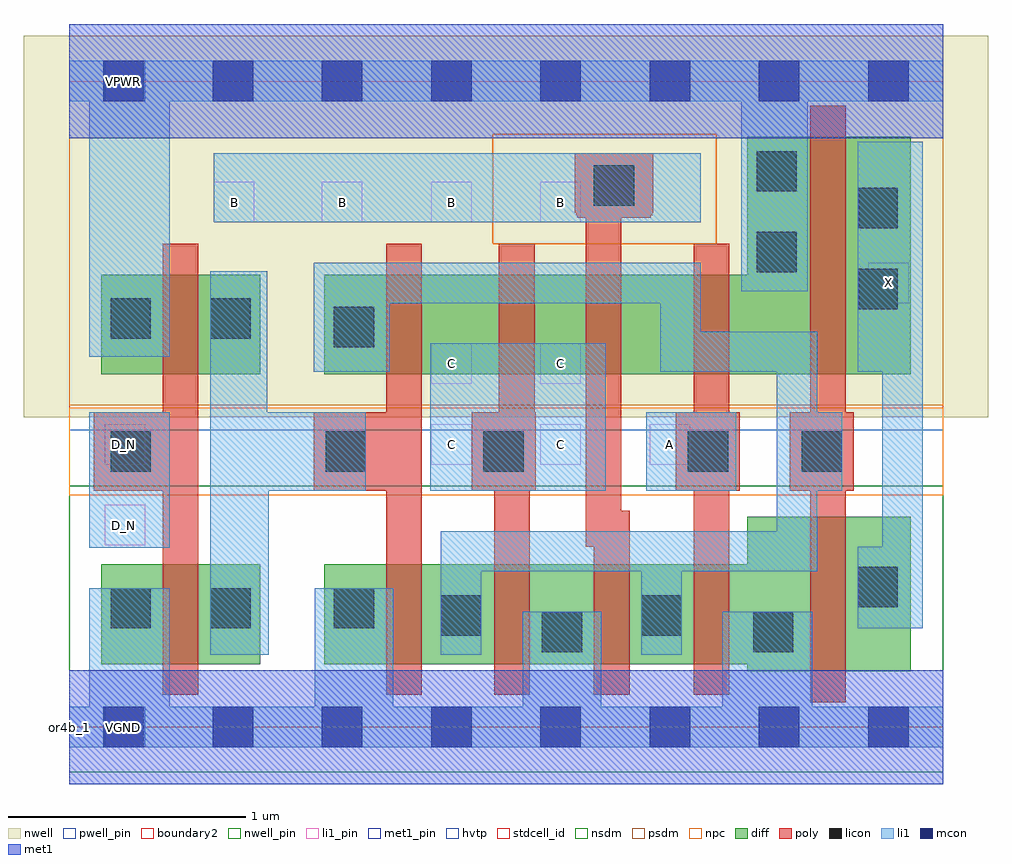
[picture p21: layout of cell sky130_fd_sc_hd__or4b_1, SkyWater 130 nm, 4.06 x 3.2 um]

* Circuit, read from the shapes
.subckt sky130_fd_sc_hd__or4b_1 A B C D_N VGND VNB VPB VPWR X
XM1 n1 D_N VGND VNB sky130_fd_pr__nfet_01v8 w=0.42 l=0.15
XM2 n2 n1 VGND VNB sky130_fd_pr__nfet_01v8 w=0.42 l=0.15
XM3 VGND C n2 VNB sky130_fd_pr__nfet_01v8 w=0.42 l=0.15
XM4 n2 B VGND VNB sky130_fd_pr__nfet_01v8 w=0.42 l=0.15
XM5 VGND A n2 VNB sky130_fd_pr__nfet_01v8 w=0.42 l=0.15
XM6 X n2 VGND VNB sky130_fd_pr__nfet_01v8 w=0.65 l=0.15
XM7 n1 D_N VPWR VPB sky130_fd_pr__pfet_01v8_hvt w=0.42 l=0.15
XM8 n3 n1 n2 VPB sky130_fd_pr__pfet_01v8_hvt w=0.42 l=0.15
XM9 n4 C n3 VPB sky130_fd_pr__pfet_01v8_hvt w=0.42 l=0.15
XM10 n5 B n4 VPB sky130_fd_pr__pfet_01v8_hvt w=0.42 l=0.15
XM11 VPWR A n5 VPB sky130_fd_pr__pfet_01v8_hvt w=0.42 l=0.15
XM12 X n2 VPWR VPB sky130_fd_pr__pfet_01v8_hvt w=1 l=0.15
.ends

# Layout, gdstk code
import gdstk
lib = gdstk.Library(unit=1e-6, precision=1e-09)
def R(c, l, rs):  # rectangles x0, y0, x1, y1
    for r in rs: c.add(gdstk.rectangle(r[:2], r[2:], *l))
def A(c, l, x, y, w, h, nx, ny, dx, dy):  # array of equal rectangles
    R(c, l, [(x+i*dx, y+j*dy, x+i*dx+w, y+j*dy+h) for i in range(nx) for j in range(ny)])
def P(c, l, *ps):  # polygons
    for p in ps: c.add(gdstk.Polygon(p, *l))
nwell_pin = (64, 16)
nwell = (64, 20)
diff = (65, 20)
poly = (66, 20)
licon = (66, 44)
li1_pin = (67, 16)
li1 = (67, 20)
mcon = (67, 44)
met1_pin = (68, 16)
met1 = (68, 20)
hvtp = (78, 44)
stdcell_id = (81, 4)
nsdm = (93, 44)
psdm = (94, 20)
npc = (95, 20)
pwell_pin = (122, 16)
boundary2 = (236, 0)

sky130_fd_sc_hd__or4b_1 = lib.new_cell('sky130_fd_sc_hd__or4b_1')
R(sky130_fd_sc_hd__or4b_1, nwell_pin, [(0.15,2.635,0.32,2.805)])
R(sky130_fd_sc_hd__or4b_1, nwell, [(-0.19,1.305,3.87,2.91)])
R(sky130_fd_sc_hd__or4b_1, diff, [(0.135,0.265,0.805,0.685), (0.135,1.485,0.805,1.905)])
P(sky130_fd_sc_hd__or4b_1, diff, [(3.545,2.485),(2.855,2.485),(2.855,1.905),(1.075,1.905),(1.075,1.485),(3.545,1.485)],
  [(3.545,0.885),(2.855,0.885),(2.855,0.685),(1.075,0.685),(1.075,0.265),(2.855,0.265),(2.855,0.235),(3.545,0.235)])
R(sky130_fd_sc_hd__or4b_1, poly, [(1.81,1.325,1.96,2.035)])
P(sky130_fd_sc_hd__or4b_1, poly, [(0.545,2.035),(0.395,2.035),(0.395,1.325),(0.105,1.325),(0.105,0.995),(0.395,0.995),(0.395,0.135),(0.545,0.135)],
  [(2.825,1.325),(2.78,1.325),(2.78,2.035),(2.63,2.035),(2.63,1.325),(2.555,1.325),(2.555,0.995),(2.63,0.995),(2.63,0.135),(2.78,0.135),(2.78,0.995),(2.825,0.995)],
  [(2.46,2.415),(2.13,2.415),(2.13,2.165),(2.135,2.165),(2.135,2.155),(2.14,2.155),(2.14,2.145),(2.175,2.145),(2.175,0.76),(2.21,0.76),(2.21,0.135),(2.36,0.135),(2.36,0.91),(2.325,0.91),(2.325,2.145),(2.45,2.145),(2.45,2.155),(2.455,2.155),(2.455,2.165),(2.46,2.165)],
  [(1.965,1.325),(1.695,1.325),(1.695,0.995),(1.79,0.995),(1.79,0.135),(1.94,0.135),(1.94,0.995),(1.965,0.995)],
  [(1.485,2.035),(1.335,2.035),(1.335,1.325),(1.03,1.325),(1.03,0.995),(1.335,0.995),(1.335,0.135),(1.485,0.135)],
  [(3.305,1.325),(3.27,1.325),(3.27,2.615),(3.12,2.615),(3.12,1.325),(3.035,1.325),(3.035,0.995),(3.12,0.995),(3.12,0.105),(3.27,0.105),(3.27,0.995),(3.305,0.995)])
R(sky130_fd_sc_hd__or4b_1, licon, [(1.99,0.315,2.16,0.485), (2.88,0.315,3.05,0.485), (1.565,0.385,1.735,0.555), (2.41,0.385,2.58,0.555), (0.175,0.415,0.345,0.585), (0.595,0.415,0.765,0.585), (1.115,0.415,1.285,0.585), (3.32,0.505,3.49,0.675), (0.175,1.075,0.345,1.245), (1.08,1.075,1.25,1.245), (1.745,1.075,1.915,1.245), (2.605,1.075,2.775,1.245), (3.085,1.075,3.255,1.245), (1.115,1.6,1.285,1.77), (0.175,1.635,0.345,1.805), (0.595,1.635,0.765,1.805), (3.32,1.76,3.49,1.93), (2.895,1.915,3.065,2.085), (3.32,2.1,3.49,2.27), (2.21,2.195,2.38,2.365), (2.895,2.255,3.065,2.425)])
A(sky130_fd_sc_hd__or4b_1, li1_pin, 1.525, 1.105, 0.17, 0.17, 3, 1, 0.46, 0)
A(sky130_fd_sc_hd__or4b_1, li1_pin, 1.065, 2.125, 0.17, 0.17, 3, 1, 0.46, 0)
R(sky130_fd_sc_hd__or4b_1, li1_pin, [(0.15,0.765,0.32,0.935), (0.15,1.105,0.32,1.275), (1.525,1.445,1.695,1.615), (1.985,1.445,2.155,1.615), (3.365,1.785,3.535,1.955), (0.61,2.125,0.78,2.295)])
R(sky130_fd_sc_hd__or4b_1, li1, [(0.085,0.755,0.425,1.325), (1.52,0.995,2.26,1.615), (2.43,0.995,2.81,1.325), (0.61,2.125,2.66,2.415)])
P(sky130_fd_sc_hd__or4b_1, li1, [(3.595,2.465),(3.32,2.465),(3.32,1.495),(3.425,1.495),(3.425,0.76),(3.32,0.76),(3.32,0.415),(3.595,0.415)],
  [(3.255,1.325),(3.15,1.325),(3.15,1.665),(2.66,1.665),(2.66,1.955),(1.03,1.955),(1.03,1.495),(1.35,1.495),(1.35,1.785),(2.49,1.785),(2.49,1.495),(2.98,1.495),(2.98,0.825),(1.565,0.825),(1.565,0.305),(1.735,0.305),(1.735,0.655),(2.41,0.655),(2.41,0.305),(2.58,0.305),(2.58,0.655),(3.15,0.655),(3.15,0.995),(3.255,0.995)],
  [(1.25,1.325),(0.835,1.325),(0.835,1.92),(0.595,1.92),(0.595,0.305),(0.84,0.305),(0.84,0.995),(1.25,0.995)],
  [(3.68,2.805),(0,2.805),(0,2.635),(0.085,2.635),(0.085,1.56),(0.425,1.56),(0.425,2.635),(2.83,2.635),(2.83,1.835),(3.11,1.835),(3.11,2.635),(3.68,2.635)],
  [(3.68,0.085),(3.13,0.085),(3.13,0.485),(2.75,0.485),(2.75,0.085),(2.24,0.085),(2.24,0.485),(1.91,0.485),(1.91,0.085),(1.365,0.085),(1.365,0.585),(1.035,0.585),(1.035,0.085),(0.425,0.085),(0.425,0.585),(0.085,0.585),(0.085,0.085),(0,0.085),(0,-0.085),(3.68,-0.085)])
A(sky130_fd_sc_hd__or4b_1, mcon, 0.145, -0.085, 0.17, 0.17, 8, 2, 0.46, 2.72)
R(sky130_fd_sc_hd__or4b_1, met1_pin, [(0.15,-0.085,0.32,0.085), (0.15,2.635,0.32,2.805)])
R(sky130_fd_sc_hd__or4b_1, hvtp, [(0,1.25,3.68,2.72)])
R(sky130_fd_sc_hd__or4b_1, stdcell_id, [(0,0,3.68,2.72)])
R(sky130_fd_sc_hd__or4b_1, nsdm, [(0,-0.19,3.68,1.015)])
P(sky130_fd_sc_hd__or4b_1, psdm, [(3.68,2.91),(2.725,2.91),(2.725,2.035),(1.785,2.035),(1.785,2.495),(2.725,2.495),(2.725,2.91),(0,2.91),(0,1.355),(3.68,1.355)])
R(sky130_fd_sc_hd__or4b_1, npc, [(0,0.975,3.68,1.345), (1.785,2.035,2.725,2.495)])
R(sky130_fd_sc_hd__or4b_1, pwell_pin, [(0.15,-0.085,0.32,0.085)])
R(sky130_fd_sc_hd__or4b_1, boundary2, [(0,0,3.68,2.72)])
sky130_fd_sc_hd__or4b_1.add(gdstk.FlexPath([(0,2.72),(3.68,2.72)], 0.48, ends="flush", simple_path=True, layer=68, datatype=20))  # met1
sky130_fd_sc_hd__or4b_1.add(gdstk.FlexPath([(0,0),(3.68,0)], 0.48, ends="flush", simple_path=True, layer=68, datatype=20))  # met1
sky130_fd_sc_hd__or4b_1.add(gdstk.Label('B', (0.695,2.21), layer=67, texttype=5))
sky130_fd_sc_hd__or4b_1.add(gdstk.Label('D_N', (0.23,0.85), layer=67, texttype=5))
sky130_fd_sc_hd__or4b_1.add(gdstk.Label('B', (1.61,2.21), layer=67, texttype=5))
sky130_fd_sc_hd__or4b_1.add(gdstk.Label('B', (1.15,2.21), layer=67, texttype=5))
sky130_fd_sc_hd__or4b_1.add(gdstk.Label('A', (2.53,1.19), layer=67, texttype=5))
sky130_fd_sc_hd__or4b_1.add(gdstk.Label('X', (3.45,1.87), layer=67, texttype=5))
sky130_fd_sc_hd__or4b_1.add(gdstk.Label('C', (2.07,1.19), layer=67, texttype=5))
sky130_fd_sc_hd__or4b_1.add(gdstk.Label('C', (1.61,1.19), layer=67, texttype=5))
sky130_fd_sc_hd__or4b_1.add(gdstk.Label('B', (2.07,2.21), layer=67, texttype=5))
sky130_fd_sc_hd__or4b_1.add(gdstk.Label('C', (2.07,1.53), layer=67, texttype=5))
sky130_fd_sc_hd__or4b_1.add(gdstk.Label('D_N', (0.23,1.19), layer=67, texttype=5))
sky130_fd_sc_hd__or4b_1.add(gdstk.Label('C', (1.61,1.53), layer=67, texttype=5))
sky130_fd_sc_hd__or4b_1.add(gdstk.Label('VPWR', (0.23,2.72), layer=68, texttype=5))
sky130_fd_sc_hd__or4b_1.add(gdstk.Label('VGND', (0.23,0), layer=68, texttype=5))
sky130_fd_sc_hd__or4b_1.add(gdstk.Label('VPB', (0.235,2.72), layer=64, texttype=5))
sky130_fd_sc_hd__or4b_1.add(gdstk.Label('VNB', (0.235,0), layer=64, texttype=59))
sky130_fd_sc_hd__or4b_1.add(gdstk.Label('or4b_1', (0,0), layer=83, texttype=44))

lib.write_gds('sky130_fd_sc_hd__or4b_1.gds')
